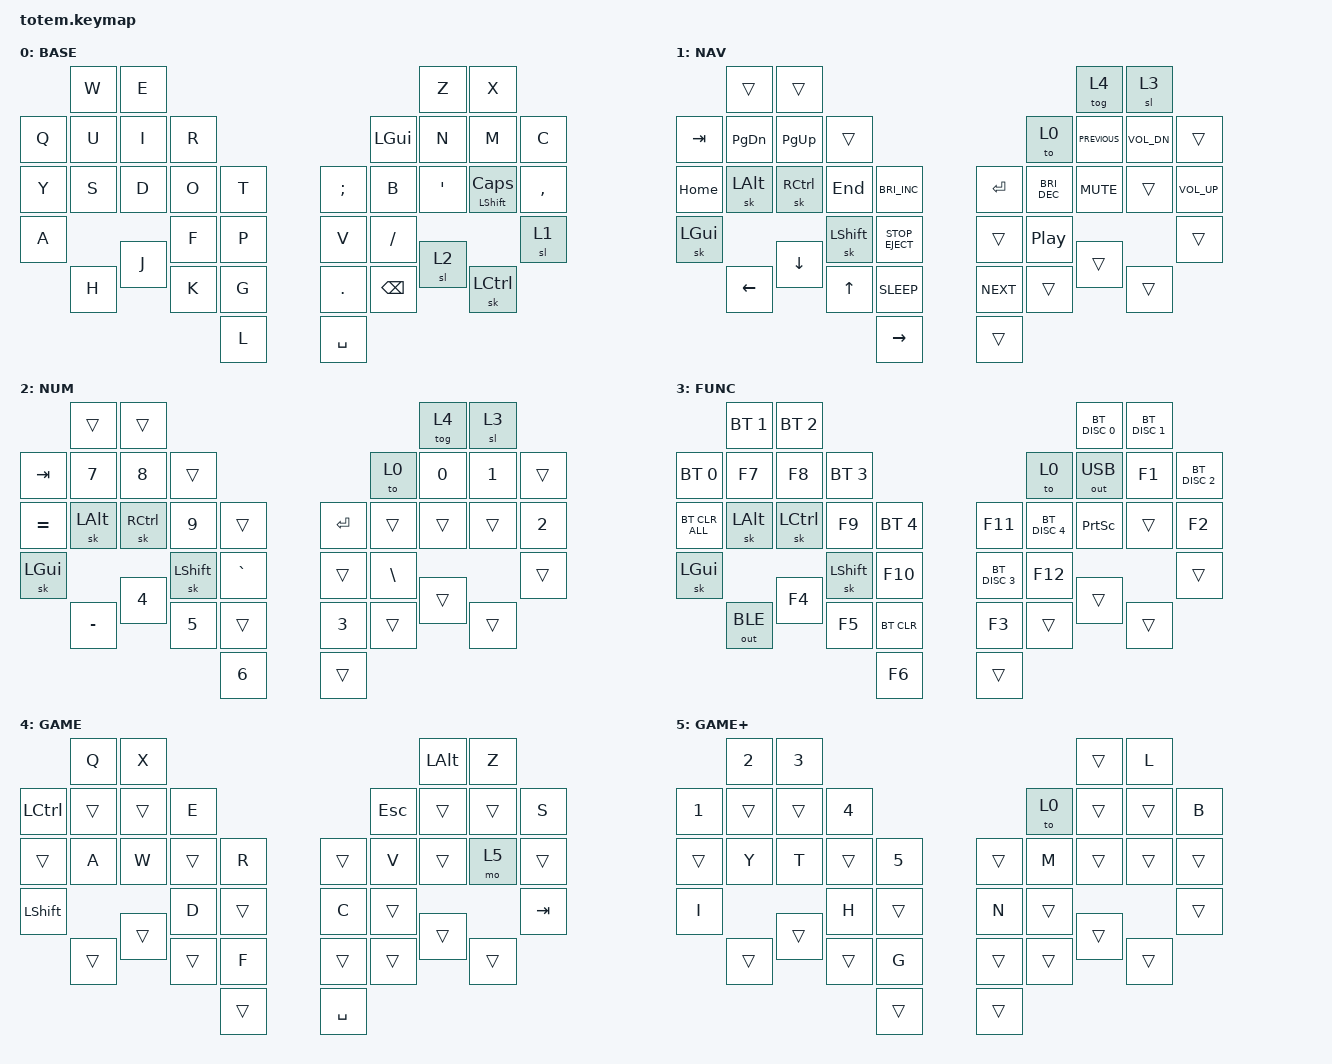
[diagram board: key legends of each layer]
//
//                                                        ▀▀▀▀▀     ▀▀▀▀▀          ▀▀█▀▀
//                                                        ▄▀▀▀▄  ▄  ▄▀▀▀▄  ▄  ▄▀▀▀▄  █  ▄▀▀▀▄
//                                                        █   █  █  █   █  █  █   █  █  █   █
//                                                         ▀▀▀   █   ▀▀▀   █   ▀▀▀   ▀   ▀▀▀
//                                                               █      ▄▄▄█▄▄▄    █   █  
//                                                               ▀      █  █  █     █▄█
//                                                             ▀▀▀▀▀    █  █  █      ▀
//                                                                      ▀  ▀  ▀
//
// ▄▄▄▄▄▄▄▄▄▄▄▄▄▄▄▄▄▄▄▄▄▄▄▄▄▄▄▄▄▄▄▄▄▄▄▄▄▄▄▄▄▄▄▄▄▄▄▄▄▄▄▄▄▄▄▄▄▄▄▄▄▄▄▄▄▄▄▄▄▄▄▄▄▄▄▄▄▄▄▄▄▄▄▄▄▄▄▄▄▄▄▄▄▄▄▄▄▄▄▄▄▄▄▄▄▄▄▄▄▄▄▄▄▄▄▄▄▄▄▄▄▄▄▄▄▄▄▄▄▄▄▄▄▄▄▄▄▄▄▄▄▄▄▄▄▄▄▄▄

#include <behaviors.dtsi>
#include <dt-bindings/zmk/bt.h>
#include <dt-bindings/zmk/ext_power.h>
#include <dt-bindings/zmk/keys.h>
#include <dt-bindings/zmk/outputs.h>

#define BASE 0
#define NAV  1
#define SYM  2
#define ADJ  3
#define TVP1 4
#define TVP2 5

&mt {
    quick-tap-ms = <100>;
    global-quick-tap;
    flavor = "tap-preferred";
    tapping-term-ms = <170>;
    require-prior-idle-ms = <125>;
};

/ {
    combos {
        compatible = "zmk,combos";

        Escape {
            bindings = <&kp ESCAPE>;
            key-positions = <12 13>;
            timeout-ms = <50>;
            layers = <0>;
        };

        Undo {
            bindings = <&kp LC(Z)>;
            key-positions = <21 22>;
            timeout-ms = <50>;
            layers = <0>;
        };

        Cut {
            bindings = <&kp LC(X)>;
            key-positions = <22 23>;
            timeout-ms = <50>;
            layers = <0>;
        };

        Copy {
            bindings = <&kp LC(C)>;
            key-positions = <23 24>;
            timeout-ms = <50>;
            layers = <0>;
        };

        Paste {
            bindings = <&kp LC(V)>;
            key-positions = <22 23 24>;
            timeout-ms = <50>;
            layers = <0>;
        };

        left_parenthesis {
            bindings = <&kp LEFT_PARENTHESIS>;
            key-positions = <4 2>;
            timeout-ms = <30>;
            layers = <0>;
        };

        right_parenthesis {
            bindings = <&kp RIGHT_PARENTHESIS>;
            key-positions = <5 7>;
            timeout-ms = <30>;
            layers = <0>;
        };

        left_brace {
            bindings = <&kp LEFT_BRACE>;
            key-positions = <14 12>;
            timeout-ms = <30>;
            layers = <0>;
        };

        right_brace {
            bindings = <&kp RIGHT_BRACE>;
            key-positions = <15 17>;
            timeout-ms = <30>;
            layers = <0>;
        };

        left_bracket {
            bindings = <&kp LEFT_BRACKET>;
            key-positions = <25 23>;
            timeout-ms = <30>;
            layers = <0>;
        };

        right_bracket {
            bindings = <&kp RIGHT_BRACKET>;
            key-positions = <26 28>;
            timeout-ms = <30>;
            layers = <0>;
        };

        Enter {
            bindings = <&kp ENTER>;
            key-positions = <17 18>;
            timeout-ms = <50>;
            layers = <0>;
        };

        Tab {
            bindings = <&kp TAB>;
            key-positions = <12 11>;
            timeout-ms = <50>;
            layers = <0>;
        };

        L_shift {
            bindings = <&kp LEFT_SHIFT>;
            key-positions = <10 11>;
            timeout-ms = <50>;
            layers = <0>;
        };

        R_shift {
            bindings = <&kp RIGHT_SHIFT>;
            key-positions = <19 18>;
            timeout-ms = <50>;
            layers = <0>;
        };

        Backspace {
            bindings = <&kp BACKSPACE>;
            key-positions = <16 17>;
            timeout-ms = <50>;
            layers = <0>;
        };

        Delete {
            bindings = <&kp DELETE>;
            key-positions = <16 15>;
            timeout-ms = <50>;
            layers = <0>;
        };

        B1 {
            bindings = <&bt BT_SEL 0>;
            key-positions = <31 0>;
            layers = <0>;
        };

        B2 {
            bindings = <&bt BT_SEL 1>;
            key-positions = <31 1>;
            layers = <0>;
        };

        B3 {
            bindings = <&bt BT_SEL 2>;
            key-positions = <31 2>;
            layers = <0>;
        };

        B4 {
            bindings = <&bt BT_SEL 3>;
            key-positions = <31 3>;
            layers = <0>;
        };

        B5 {
            bindings = <&bt BT_SEL 4>;
            key-positions = <31 4>;
            layers = <0>;
        };

        B1D {
            bindings = <&bt BT_DISC 0>;
            key-positions = <31 10>;
            layers = <0>;
        };

        B2D {
            bindings = <&bt BT_DISC 1>;
            key-positions = <31 11>;
            layers = <0>;
        };

        B3D {
            bindings = <&bt BT_DISC 2>;
            key-positions = <31 12>;
            layers = <0>;
        };

        B4D {
            bindings = <&bt BT_DISC 3>;
            key-positions = <31 13>;
            layers = <0>;
        };

        B5D {
            bindings = <&bt BT_DISC 4>;
            key-positions = <31 14>;
            layers = <0>;
        };

        BCA {
            bindings = <&bt BT_CLR_ALL>;
            key-positions = <31 20>;
            layers = <0>;
        };

        BC {
            bindings = <&bt BT_CLR>;
            key-positions = <31 21>;
            layers = <0>;
        };

        EP-ON {
            bindings = <&ext_power EP_ON>;
            key-positions = <25 31>;
            layers = <0>;
        };

        BT {
            bindings = <&out OUT_BLE>;
            key-positions = <23 31>;
            layers = <0>;
        };

        USB {
            bindings = <&out OUT_USB>;
            key-positions = <31 24>;
            layers = <0>;
        };

        Reset {
            bindings = <&sys_reset>;
            key-positions = <0 21 9 30>;
            layers = <0>;
        };
    };

    behaviors {
        Mod_Tap_L: Mod_Tap_L {
            compatible = "zmk,behavior-hold-tap";
            label = "MTL";
            bindings = <&kp>, <&kp>;

            #binding-cells = <2>;
            tapping-term-ms = <200>;
            flavor = "tap-preferred";
            hold-trigger-key-positions = <35 36 37 26 27 15 16 5 6 7 17 28 29 18 8 9 19 30 31 34 33 32>;
            quick-tap-ms = <200>;
            require-prior-idle-ms = <175>;
            hold-trigger-on-release;
        };

        Mod_Tap_R: Mod_Tap_R {
            compatible = "zmk,behavior-hold-tap";
            label = "MOD_TAP_R";
            bindings = <&kp>, <&kp>;

            #binding-cells = <2>;
            tapping-term-ms = <200>;
            flavor = "tap-preferred";
            hold-trigger-key-positions = <0 1 2 3 4 10 11 12 13 14 20 21 22 23 24 25 32 33 34 35 36 37>;
            quick-tap-ms = <200>;
            require-prior-idle-ms = <175>;
            hold-trigger-on-release;
        };
    };

    keymap {
        compatible = "zmk,keymap";

        Base {
            display-name = "BASE";
            bindings = <
              &kp Q  &kp W  &kp E                &kp R  &kp T        &kp Y          &kp U  &kp I      &kp O    &kp P
              &kp A  &kp S  &kp D                &kp F  &kp G        &kp H          &kp J  &kp K      &kp L    &kp SEMI
&kp LEFT_GUI  &kp Z  &kp X  &kp C                &kp V  &kp B        &kp N          &kp M  &kp COMMA  &kp DOT  &kp FSLH  &kp SQT
                            &mt LEFT_SHIFT CAPS  &sl 1  &kp SPACE    &kp BACKSPACE  &sl 2  &sk LCTRL
            >;
        };

        Navigation {
            display-name = "NAV";
            bindings = <
       &kp TAB       &trans        &trans     &trans          &kp C_BRIGHTNESS_INC    &kp HOME        &kp PAGE_DOWN  &kp PAGE_UP   &kp END     &kp C_STOP_EJECT
       &sk LEFT_GUI  &sk LEFT_ALT  &sk RCTRL  &sk LEFT_SHIFT  &kp C_SLEEP             &kp LEFT        &kp DOWN       &kp UP_ARROW  &kp RIGHT   &kp ENTER
&to 0  &tog 4        &sl 3         &trans     &trans          &kp C_BRIGHTNESS_DEC    &kp C_PREVIOUS  &kp C_VOL_DN   &kp C_VOL_UP  &kp C_NEXT  &kp C_PLAY_PAUSE  &kp C_MUTE
                                   &trans     &trans          &trans                  &trans          &trans         &trans
            >;
        };

        Number {
            display-name = "NUM";
            bindings = <
       &kp TAB       &trans        &trans     &trans          &trans    &kp EQUAL  &kp N7  &kp N8  &kp N9  &kp GRAVE
       &sk LEFT_GUI  &sk LEFT_ALT  &sk RCTRL  &sk LEFT_SHIFT  &trans    &kp MINUS  &kp N4  &kp N5  &kp N6  &kp ENTER
&to 0  &tog 4        &sl 3         &trans     &trans          &trans    &kp N0     &kp N1  &kp N2  &kp N3  &kp BSLH   &trans
                                   &trans     &trans          &trans    &trans     &trans  &trans
            >;
        };

        Function {
            display-name = "FUNC";
            bindings = <
       &bt BT_SEL 0   &bt BT_SEL 1   &bt BT_SEL 2   &bt BT_SEL 3    &bt BT_SEL 4     &bt BT_CLR_ALL  &kp F7  &kp F8  &kp F9  &kp F10
       &sk LEFT_GUI   &sk LEFT_ALT   &sk LCTRL      &sk LEFT_SHIFT  &bt BT_CLR       &out OUT_BLE    &kp F4  &kp F5  &kp F6  &kp F11
&to 0  &bt BT_DISC 0  &bt BT_DISC 1  &bt BT_DISC 2  &bt BT_DISC 3   &bt BT_DISC 4    &out OUT_USB    &kp F1  &kp F2  &kp F3  &kp F12  &kp PRINTSCREEN
                                     &trans         &trans          &trans           &trans          &trans  &trans
            >;
        };

        Game {
            display-name = "GAME";
            bindings = <
            &kp LCTRL       &kp Q  &kp X  &kp E    &kp R        &trans  &trans  &trans  &trans  &trans
            &kp LEFT_SHIFT  &kp A  &kp W  &kp D    &kp F        &trans  &trans  &trans  &trans  &trans
&kp ESCAPE  &kp LEFT_ALT    &kp Z  &kp S  &kp C    &kp V        &trans  &trans  &trans  &trans  &trans  &trans
                                   &mo 5  &kp TAB  &kp SPACE    &trans  &trans  &trans
            >;
        };

        GamePlus {
            display-name = "GAME+";
            bindings = <
       &kp NUMBER_1  &kp N2  &kp N3  &kp N4  &kp N5    &trans  &trans  &trans  &trans  &trans
       &kp I         &kp Y   &kp T   &kp H   &kp G     &trans  &trans  &trans  &trans  &trans
&to 0  &trans        &kp L   &kp B   &kp N   &kp M     &trans  &trans  &trans  &trans  &trans  &trans
                             &trans  &trans  &trans    &trans  &trans  &trans
            >;
        };
    };
};
